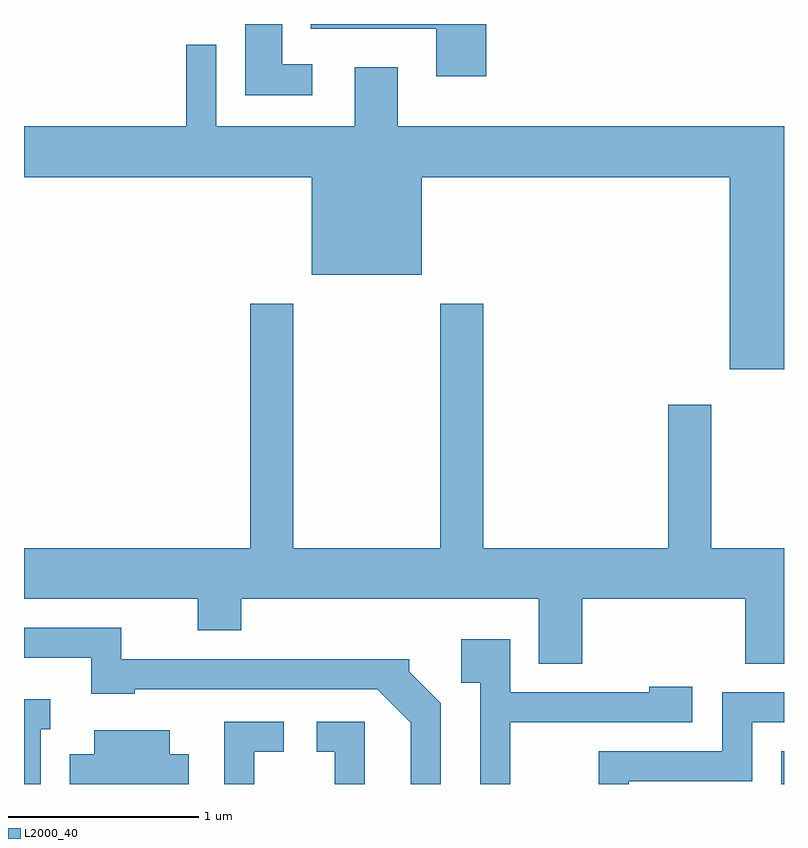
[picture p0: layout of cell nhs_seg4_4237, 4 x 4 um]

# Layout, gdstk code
import gdstk
lib = gdstk.Library(unit=1e-6, precision=1e-09)
def R(c, l, rs):  # rectangles x0, y0, x1, y1
    for r in rs: c.add(gdstk.rectangle(r[:2], r[2:], *l))
def P(c, l, *ps):  # polygons
    for p in ps: c.add(gdstk.Polygon(p, *l))
L2000_40 = (2000, 40)

nhs_seg4_4237 = lib.new_cell('nhs_seg4_4237')
R(nhs_seg4_4237, L2000_40, [(313.596,1295.982,313.611,1296.154)])
P(nhs_seg4_4237, L2000_40, [(312.044,1299.982),(311.121,1299.982),(311.121,1299.956),(311.781,1299.956),(311.781,1299.706),(312.044,1299.706)],
  [(311.128,1299.769),(310.969,1299.769),(310.969,1299.982),(310.776,1299.982),(310.776,1299.606),(311.128,1299.606)],
  [(313.611,1299.444),(311.579,1299.444),(311.579,1299.754),(311.351,1299.754),(311.351,1299.444),(310.624,1299.444),(310.624,1299.873),(310.466,1299.873),(310.466,1299.444),(309.611,1299.444),(309.611,1299.176),(311.126,1299.176),(311.126,1298.661),(311.704,1298.661),(311.704,1299.176),(313.326,1299.176),(313.326,1298.166),(313.611,1298.166)],
  [(312.549,1296.956),(313.406,1296.956),(313.406,1296.616),(313.611,1296.616),(313.611,1297.224),(313.229,1297.224),(313.229,1297.979),(313.001,1297.979),(313.001,1297.224),(312.029,1297.224),(312.029,1298.509),(311.801,1298.509),(311.801,1297.224),(311.029,1297.224),(311.029,1298.509),(310.801,1298.509),(310.801,1297.224),(309.611,1297.224),(309.611,1296.956),(310.526,1296.956),(310.526,1296.791),(310.754,1296.791),(310.754,1296.956),(312.321,1296.956),(312.321,1296.616),(312.549,1296.616)],
  [(311.804,1296.407),(311.639,1296.572),(311.639,1296.639),(310.124,1296.639),(310.124,1296.804),(309.611,1296.804),(309.611,1296.646),(309.966,1296.646),(309.966,1296.456),(310.194,1296.456),(310.194,1296.481),(311.469,1296.481),(311.646,1296.304),(311.646,1295.982),(311.804,1295.982)],
  [(312.169,1296.306),(313.129,1296.306),(313.129,1296.494),(312.901,1296.494),(312.901,1296.464),(312.169,1296.464),(312.169,1296.744),(311.911,1296.744),(311.911,1296.516),(312.011,1296.516),(312.011,1295.982),(312.169,1295.982)],
  [(312.794,1295.996),(313.444,1295.996),(313.444,1296.306),(313.611,1296.306),(313.611,1296.464),(313.286,1296.464),(313.286,1296.154),(312.636,1296.154),(312.636,1295.982),(312.794,1295.982)],
  [(309.699,1296.271),(309.748,1296.271),(309.748,1296.429),(309.611,1296.429),(309.611,1295.982),(309.699,1295.982)],
  [(311.404,1296.309),(311.153,1296.309),(311.153,1296.151),(311.246,1296.151),(311.246,1295.982),(311.404,1295.982)],
  [(310.824,1296.151),(310.978,1296.151),(310.978,1296.309),(310.666,1296.309),(310.666,1295.982),(310.824,1295.982)],
  [(310.479,1296.139),(310.379,1296.139),(310.379,1296.264),(309.981,1296.264),(309.981,1296.139),(309.851,1296.139),(309.851,1295.982),(310.479,1295.982)])

lib.write_gds('nhs_seg4_4237.gds')
